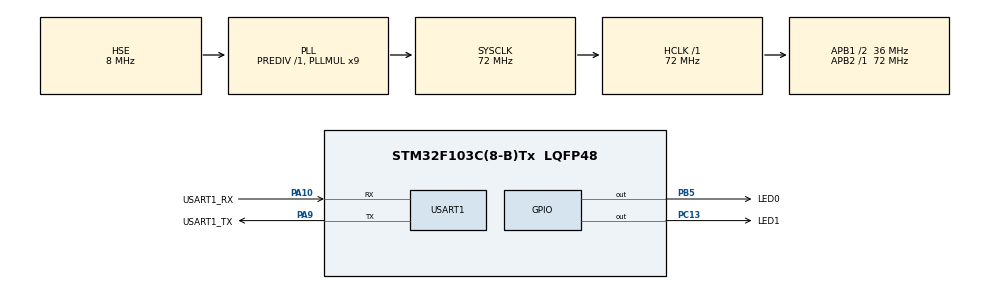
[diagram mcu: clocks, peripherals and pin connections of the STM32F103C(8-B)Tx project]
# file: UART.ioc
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Mcu.Family=STM32F1
Mcu.Name=STM32F103C(8-B)Tx
Mcu.Package=LQFP48
NVIC.PriorityGroup=NVIC_PRIORITYGROUP_4
NVIC.USART1_IRQn=true\:12\:0\:true\:false\:true\:true\:true\:true
PA10.GPIO_Label=USART1_RX
PA10.Mode=Asynchronous
PA10.Signal=USART1_RX
PA13.Mode=Serial_Wire
PA13.Signal=SYS_JTMS-SWDIO
PA14.Mode=Serial_Wire
PA14.Signal=SYS_JTCK-SWCLK
PA9.GPIO_Label=USART1_TX
PA9.Mode=Asynchronous
PA9.Signal=USART1_TX
PB5.GPIO_Label=LED0
PB5.GPIO_Speed=GPIO_SPEED_FREQ_HIGH
PB5.PinState=GPIO_PIN_RESET
PB5.Signal=GPIO_Output
PC13-TAMPER-RTC.GPIO_Label=LED1
PC13-TAMPER-RTC.GPIO_Speed=GPIO_SPEED_FREQ_HIGH
PC13-TAMPER-RTC.PinState=GPIO_PIN_RESET
PC13-TAMPER-RTC.Signal=GPIO_Output
PD0-OSC_IN.Mode=HSE-External-Oscillator
PD0-OSC_IN.Signal=RCC_OSC_IN
PD1-OSC_OUT.Mode=HSE-External-Oscillator
PD1-OSC_OUT.Signal=RCC_OSC_OUT
ProjectManager.HeapSize=0x200
ProjectManager.StackSize=0x400
ProjectManager.TargetToolchain=CMake
RCC.AHBFreq_Value=72000000
RCC.APB1CLKDivider=RCC_HCLK_DIV2
RCC.APB1Freq_Value=36000000
RCC.APB1TimFreq_Value=72000000
RCC.APB2Freq_Value=72000000
RCC.APB2TimFreq_Value=72000000
RCC.HCLKFreq_Value=72000000
RCC.PLLMUL=RCC_PLL_MUL9
RCC.PLLSourceVirtual=RCC_PLLSOURCE_HSE
RCC.SYSCLKFreq_VALUE=72000000
RCC.SYSCLKSource=RCC_SYSCLKSOURCE_PLLCLK
RCC.USBFreq_Value=72000000
USART1.VirtualMode=VM_ASYNC
board=custom

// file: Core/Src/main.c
/* USER CODE BEGIN Header */
/**
  ******************************************************************************
  * @file           : main.c
  * @brief          : Main program body
  ******************************************************************************
  * @attention
  *
  * Copyright (c) 2026 STMicroelectronics.
  * All rights reserved.
  *
  * This software is licensed under terms that can be found in the LICENSE file
  * in the root directory of this software component.
  * If no LICENSE file comes with this software, it is provided AS-IS.
  *
  ******************************************************************************
  */
/* USER CODE END Header */
#include "main.h"
#include "stm32f1xx_hal_gpio.h"
#include "usart.h"
#include "gpio.h"

/* USER CODE BEGIN Includes */
#include <string.h>
#include <stdio.h>
#include "led.h"
/* USER CODE END Includes */

void SystemClock_Config(void);

int main(void)
{

  /* USER CODE BEGIN 1 */
  uint8_t len;
  uint16_t times=0;

  /* USER CODE END 1 */

  /* MCU Configuration--------------------------------------------------------*/

  /* Reset of all peripherals, Initializes the Flash interface and the Systick. */
  HAL_Init();

  /* Configure the system clock */
  SystemClock_Config();

  /* Initialize all configured peripherals */
  MX_GPIO_Init();
  MX_USART1_UART_Init();

  /* Infinite loop */
  /* USER CODE BEGIN WHILE */
  while (1)
  {
    if(USART1_RX_STA&0x8000) //接收完成
    {
        len=USART1_RX_STA&0X3FFF; //得到此次接收到的数据长度
        HAL_UART_Transmit(&huart1,USART1_RX_BUF,len,1000); //发送数据

        USART1_RX_STA=0; //清零，准备下次接收
    }
    else
    {
        times++;
        if(times%50==0)
        {
            LED1_TOGGLE();
        }
        if(times%500==0)
        {
             times=0;
            printf("请输入数据：\r\n");
        }
        HAL_Delay(10);
    }
    /* USER CODE END WHILE */

  }
}

void SystemClock_Config(void)
{
  RCC_OscInitTypeDef RCC_OscInitStruct = {0};
  RCC_ClkInitTypeDef RCC_ClkInitStruct = {0};

  /** Initializes the RCC Oscillators according to the specified parameters
  * in the RCC_OscInitTypeDef structure.
  */
  RCC_OscInitStruct.OscillatorType = RCC_OSCILLATORTYPE_HSE;
  RCC_OscInitStruct.HSEState = RCC_HSE_ON;
  RCC_OscInitStruct.HSEPredivValue = RCC_HSE_PREDIV_DIV1;
  RCC_OscInitStruct.HSIState = RCC_HSI_ON;
  RCC_OscInitStruct.PLL.PLLState = RCC_PLL_ON;
  RCC_OscInitStruct.PLL.PLLSource = RCC_PLLSOURCE_HSE;
  RCC_OscInitStruct.PLL.PLLMUL = RCC_PLL_MUL9;
  if (HAL_RCC_OscConfig(&RCC_OscInitStruct) != HAL_OK)
  {
    Error_Handler();
  }

  /** Initializes the CPU, AHB and APB buses clocks
  */
  RCC_ClkInitStruct.ClockType = RCC_CLOCKTYPE_HCLK|RCC_CLOCKTYPE_SYSCLK
                              |RCC_CLOCKTYPE_PCLK1|RCC_CLOCKTYPE_PCLK2;
  RCC_ClkInitStruct.SYSCLKSource = RCC_SYSCLKSOURCE_PLLCLK;
  RCC_ClkInitStruct.AHBCLKDivider = RCC_SYSCLK_DIV1;
  RCC_ClkInitStruct.APB1CLKDivider = RCC_HCLK_DIV2;
  RCC_ClkInitStruct.APB2CLKDivider = RCC_HCLK_DIV1;

  if (HAL_RCC_ClockConfig(&RCC_ClkInitStruct, FLASH_LATENCY_2) != HAL_OK)
  {
    Error_Handler();
  }
}

void Error_Handler(void)
{
  __disable_irq();
  while (1)
  {
  }
}
